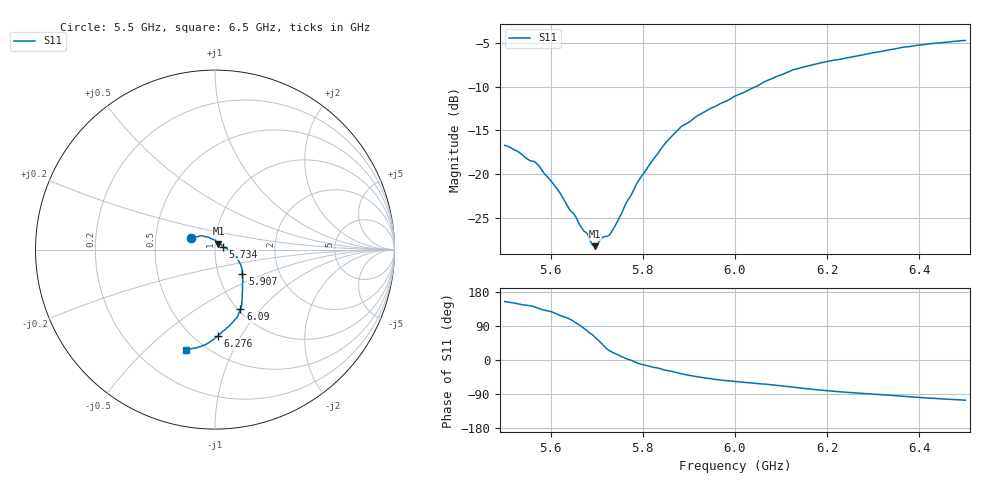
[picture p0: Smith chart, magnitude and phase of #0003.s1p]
#  HZ  S  DB  R  50.00
! Rohde & Schwarz ZVA24 4Ports - Version 3.60 - 1145.1110k28 SN: 101513
! Date: 2019-08-26 13:09:36
! Measurement: S33
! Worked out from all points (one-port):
!   801 points, 5.5 GHz to 6.5 GHz, reference 50 ohm
!   lowest |S11| = -28.3 dB at 5.696 GHz (marker M1), VSWR 1.08, Z = 51.8 + j3.48 ohm
!   |S11| at or under -10 dB: start of sweep to 6.045 GHz
!   S11 on the Smith chart (normalised r, x): 5.5 GHz: 0.76, +0.10; 5.734 GHz: 1.09, +0.04; 5.907 GHz: 1.30, -0.37; 6.09 GHz: 1.03, -0.79; 6.276 GHz: 0.64, -0.80; 6.5 GHz: 0.40, -0.67
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5.5e9  -16.71 154.2
5.5275e9  -17.39 148.4
5.55e9  -18.31 144.2
5.56875e9  -18.76 138.5
5.60625e9  -21.17 125.2
5.625e9  -22.60 115.5
5.6525e9  -24.73 99.6
5.66625e9  -26.08 89.0
5.68e9  -26.92 75.6
5.69e9  -28.08 67.2
5.69625e9  -28.28 60.3
5.7125e9  -27.29 41.5
5.72625e9  -27.04 25.3
5.73375e9  -26.46 20.5
5.75e9  -24.91 11.2
5.76375e9  -23.33 3.3
5.795e9  -20.41 -10.5
5.845e9  -16.73 -25.6
5.875e9  -15.03 -33.9
5.9075e9  -13.77 -42.0
6e9  -11.08 -56.7
6.09e9  -8.84 -66.9
6.125e9  -8.09 -71.4
6.18375e9  -7.30 -79.1
6.25e9  -6.64 -85.8
6.27625e9  -6.36 -88.0
6.375e9  -5.43 -96.5
6.5e9  -4.71 -106.0
